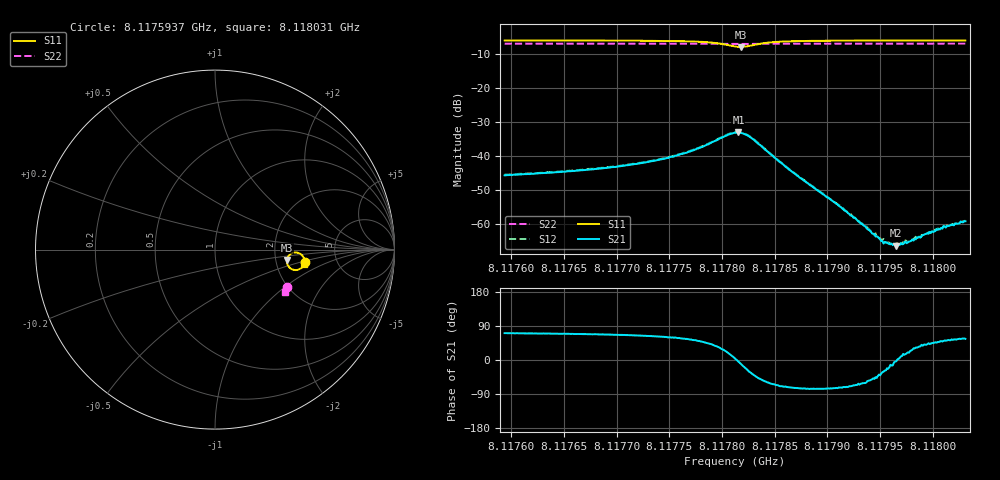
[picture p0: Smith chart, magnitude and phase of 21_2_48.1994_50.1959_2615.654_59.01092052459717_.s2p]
#  HZ  S  RI  R  50.00
! Rohde & Schwarz Vector Network Analyzer
! Rohde-Schwarz,ZNB20-2Port,1311601062101988,3.16
! Created: UTC 3/20/2024, 11:36:57 AM
! freq[Hz]  re:S11  im:S11  re:S21  im:S21  re:S12  im:S12  re:S22  im:S22
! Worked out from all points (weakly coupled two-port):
!   401 points, 8.1175937 GHz to 8.118031 GHz, reference 50 ohm
!   highest |S21| = -33.06 dB at 8.1178156 GHz (marker M1); lowest = -66.4 dB at 8.1179654 GHz (marker M2)
!   lowest |S11| = -7.9 dB at 8.1178178 GHz (marker M3), VSWR 2.36, Z = 115 - j15.8 ohm
!   |S11| at or under -10 dB: nowhere
!   |S22| runs from -7.0 to -6.9 dB; largest |S21 - S12| = 0.00065
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8.11759366e9  0.5004 -0.0666  0.0017 0.00491  0.0018 0.005  0.4017 -0.208
8.11766692e9  0.498 -0.0762  0.00228 0.00576  0.00235 0.00587  0.3994 -0.2129
8.11770301e9  0.4954 -0.0827  0.00285 0.00647  0.00295 0.00656  0.3981 -0.2153
8.11774018e9  0.4901 -0.0924  0.00412 0.00775  0.00428 0.00789  0.3968 -0.2178
8.11777189e9  0.477 -0.1054  0.00728 0.00959  0.00745 0.00961  0.395 -0.2202
8.11779814e9  0.4388 -0.1129  0.0155 0.00961  0.0159 0.00956  0.3924 -0.2216
8.11781235e9  0.4031 -0.0818  0.0221 0.00147  0.0224 0.00129  0.3909 -0.2206
8.11781563e9  0.4003 -0.0672  0.0222 -0.00161  0.0225 -0.00194  0.3908 -0.2203
8.11781782e9  0.4009 -0.0571  0.0216 -0.00381  0.0219 -0.00413  0.3909 -0.2197
8.11782876e9  0.4287 -0.0205  0.0144 -0.0108  0.0146 -0.0113  0.3924 -0.219
8.11785062e9  0.4787 -0.0259  0.00387 -0.00848  0.00382 -0.00859  0.3938 -0.2214
8.11788562e9  0.4959 -0.049  0.000862 -0.00346  0.000865 -0.0035  0.3931 -0.2246
8.11791186e9  0.4984 -0.0586  0.000542 -0.00172  0.000554 -0.0018  0.3923 -0.2266
8.11793701e9  0.4992 -0.065  0.000444 -0.00075  0.00049 -0.000786  0.3914 -0.2282
8.11794904e9  0.4992 -0.0676  0.000484 -0.000382  0.000487 -0.00038  0.3911 -0.2291
8.11795122e9  0.4992 -0.068  0.000455 -0.000322  0.000477 -0.000337  0.3908 -0.2294
8.11795888e9  0.4992 -0.0694  0.000478 -0.000163  0.000489 -0.000201  0.3908 -0.2298
8.11796544e9  0.4991 -0.0705  0.000475 -2.69e-05  0.000469 -6.79e-06  0.3904 -0.2303
8.11797747e9  0.4991 -0.0725  0.000516 0.000182  0.000519 0.000218  0.39 -0.2311
8.11799278e9  0.4991 -0.0747  0.000534 0.000458  0.000539 0.000472  0.3896 -0.2322
8.11801246e9  0.4988 -0.0773  0.000555 0.000684  0.000551 0.000707  0.3889 -0.2334
8.11803105e9  0.4986 -0.0796  0.000612 0.000905  0.000627 0.000918  0.3883 -0.2344
